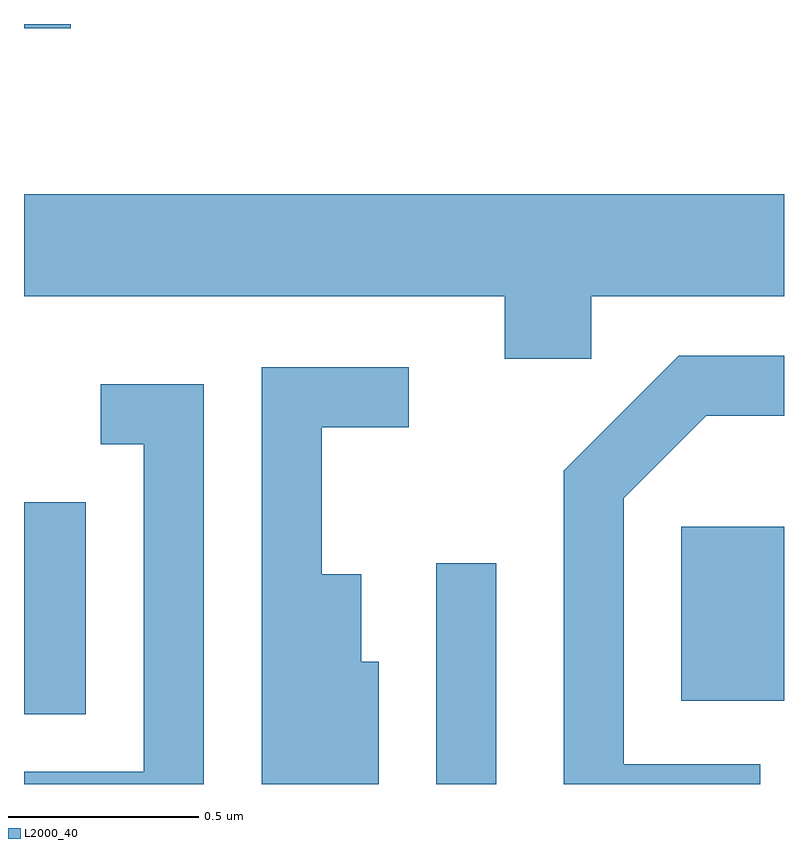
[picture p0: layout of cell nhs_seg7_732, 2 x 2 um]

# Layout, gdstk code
import gdstk
lib = gdstk.Library(unit=1e-6, precision=1e-09)
def R(c, l, rs):  # rectangles x0, y0, x1, y1
    for r in rs: c.add(gdstk.rectangle(r[:2], r[2:], *l))
def P(c, l, *ps):  # polygons
    for p in ps: c.add(gdstk.Polygon(p, *l))
L2000_40 = (2000, 40)

nhs_seg7_732 = lib.new_cell('nhs_seg7_732')
R(nhs_seg7_732, L2000_40, [(191.696,1715.252,191.854,1715.833), (190.611,1715.436,190.774,1715.994), (192.341,1715.471,192.611,1715.929), (190.611,1717.241,190.734,1717.252)])
P(nhs_seg7_732, L2000_40, [(192.104,1716.536),(192.611,1716.536),(192.611,1716.804),(190.611,1716.804),(190.611,1716.536),(191.876,1716.536),(191.876,1716.371),(192.104,1716.371)],
  [(192.548,1715.304),(192.189,1715.304),(192.189,1716.004),(192.407,1716.221),(192.611,1716.221),(192.611,1716.379),(192.334,1716.379),(192.031,1716.077),(192.031,1715.252),(192.548,1715.252)],
  [(191.544,1715.574),(191.499,1715.574),(191.499,1715.804),(191.394,1715.804),(191.394,1716.191),(191.623,1716.191),(191.623,1716.349),(191.236,1716.349),(191.236,1715.252),(191.544,1715.252)],
  [(191.084,1716.304),(190.813,1716.304),(190.813,1716.146),(190.926,1716.146),(190.926,1715.284),(190.611,1715.284),(190.611,1715.252),(191.084,1715.252)])

lib.write_gds('nhs_seg7_732.gds')
